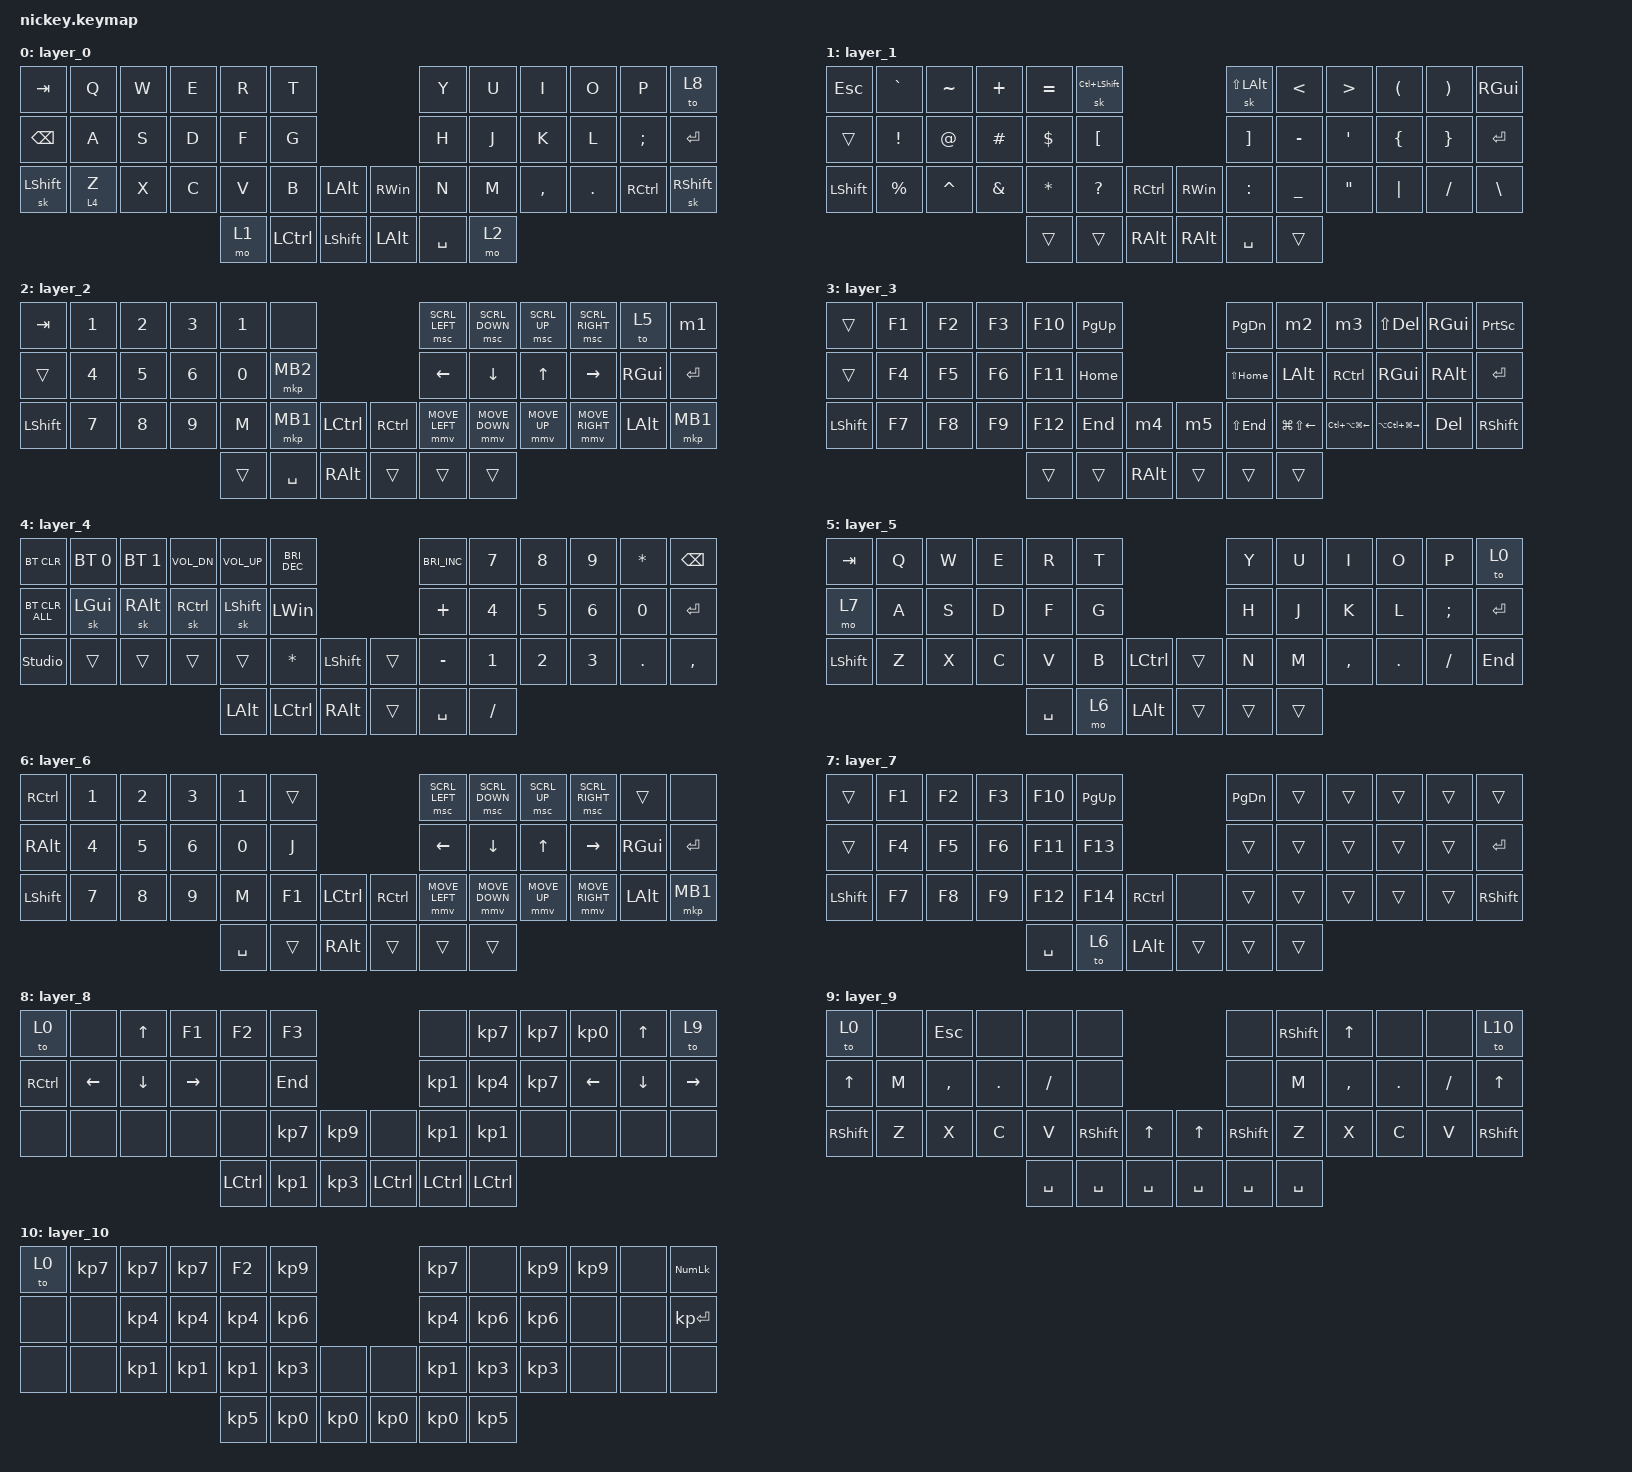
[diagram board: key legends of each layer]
// mouse tuning

#define ZMK_POINTING_DEFAULT_MOVE_VAL 1200
#define ZMK_POINTING_DEFAULT_SCRL_VAL 600

#include <dt-bindings/zmk/input_transform.h>
#include <input/processors.dtsi>
#include <zephyr/dt-bindings/input/input-event-codes.h>
#include <dt-bindings/zmk/mouse.h>
#include <behaviors/mouse_keys.dtsi>
#include <behaviors.dtsi>
#include <dt-bindings/zmk/bt.h>
#include <dt-bindings/zmk/keys.h>
#include <dt-bindings/zmk/pointing.h>

&mmv_input_listener { input-processors = <&zip_xy_scaler 2 1>; };

&msc_input_listener { input-processors = <&zip_scroll_scaler 2 1>; };

&mt {
    flavor = "balanced";
    quick-tap-ms = <0>;
};

&lt {
    quick-tap-ms = <300>;
    flavor = "balanced";
};

&mmv {
    time-to-max-speed-ms = <400>;
    acceleration-exponent = <1>;
    trigger-period-ms = <14>;
};

&msc {
    acceleration-exponent = <1>;
    time-to-max-speed-ms = <100>;
    delay-ms = <0>;
};

/ {
    combos {
        compatible = "zmk,combos";

        esc {
            bindings = <&kp ESCAPE>;
            key-positions = <0 1>;
            layers = <0 5>;
        };

        select_to_bol {
            bindings = <&kp LS(HOME)>;
            key-positions = <32 33>;
            layers = <0>;
        };

        select_to_eol {
            bindings = <&kp LS(END)>;
            key-positions = <34 35>;
            layers = <0>;
        };

        word_backward {
            bindings = <&kp LC(LEFT_ARROW)>;
            key-positions = <18 19>;
            layers = <0>;
        };

        word_forward {
            bindings = <&kp LC(RIGHT)>;
            key-positions = <20 21>;
            layers = <0>;
        };

        mousekey_3 {
            bindings = <&mkp MB3>;
            key-positions = <17 29>;
            layers = <2>;
        };

        esc-jk {
            bindings = <&kp ESCAPE>;
            key-positions = <19 20>;
            layers = <0>;
        };

        capword {
            bindings = <&caps_word>;
            key-positions = <24 37>;
            layers = <0>;
        };
    };

    macros {
        m0: m0 {
            compatible = "zmk,behavior-macro";
            #binding-cells = <0>;
            bindings = <&kp EQUAL &kp GT>;
            label = "M0";
        };

        m1: m1 {
            compatible = "zmk,behavior-macro";
            #binding-cells = <0>;
            bindings =
                <&macro_press>,
                <&kp LCTRL &kp LSHFT>,
                <&macro_tap>,
                <&kp ESC>,
                <&macro_release>,
                <&kp LCTRL &kp LSHFT>;

            label = "M1";
        };

        m2: m2 {
            compatible = "zmk,behavior-macro";
            #binding-cells = <0>;
            bindings =
                <&macro_press>,
                <&kp RGUI &kp LCTRL>,
                <&macro_tap>,
                <&kp LEFT>,
                <&macro_release>,
                <&kp RGUI &kp LCTRL>;

            label = "M2";
        };

        m3: m3 {
            compatible = "zmk,behavior-macro";
            #binding-cells = <0>;
            bindings =
                <&macro_press>,
                <&kp RGUI &kp LCTRL>,
                <&macro_tap>,
                <&kp RIGHT>,
                <&macro_release>,
                <&kp RGUI &kp LCTRL>;

            label = "M3";
        };

        m4: m4 {
            compatible = "zmk,behavior-macro";
            #binding-cells = <0>;
            bindings =
                <&macro_press>,
                <&kp RGUI &kp LCTRL>,
                <&macro_tap>,
                <&kp D>,
                <&macro_release>,
                <&kp RGUI &kp LCTRL>;

            label = "M4";
        };

        m5: m5 {
            compatible = "zmk,behavior-macro";
            #binding-cells = <0>;
            bindings =
                <&macro_press>,
                <&kp RGUI &kp LCTRL>,
                <&macro_tap>,
                <&kp F4>,
                <&macro_release>,
                <&kp RGUI &kp LCTRL>;

            label = "M5";
        };
    };

    keymap {
        compatible = "zmk,keymap";

        layer_0 {
            bindings = <
&kp TAB        &kp Q    &kp W  &kp E  &kp R  &kp T                                       &kp Y      &kp U  &kp I      &kp O    &kp P      &to 8
&kp BACKSPACE  &kp A    &kp S  &kp D  &kp F  &kp G                                       &kp H      &kp J  &kp K      &kp L    &kp SEMI   &kp ENTER
&sk LSHFT      &lt 4 Z  &kp X  &kp C  &kp V  &kp B      &kp LEFT_ALT      &kp RIGHT_WIN  &kp N      &kp M  &kp COMMA  &kp DOT  &kp RCTRL  &sk RIGHT_SHIFT
                                      &mo 1  &kp LCTRL  &kp LEFT_SHIFT    &kp LEFT_ALT   &kp SPACE  &mo 2
            >;
        };

        layer_1 {
            bindings = <
&kp ESCAPE      &kp GRAVE        &kp TILDE    &kp PLUS       &kp EQUAL     &sk LC(LEFT_SHIFT)                                  &sk LS(LEFT_ALT)   &kp LESS_THAN   &kp GREATER_THAN   &kp LEFT_PARENTHESIS  &kp RIGHT_PARENTHESIS  &kp RIGHT_GUI
&trans          &kp EXCLAMATION  &kp AT_SIGN  &kp HASH       &kp DOLLAR    &kp LEFT_BRACKET                                    &kp RIGHT_BRACKET  &kp MINUS       &kp SQT            &kp LEFT_BRACE        &kp RIGHT_BRACE        &kp ENTER
&kp LEFT_SHIFT  &kp PERCENT      &kp CARET    &kp AMPERSAND  &kp ASTERISK  &kp QUESTION        &kp RCTRL        &kp RIGHT_WIN  &kp COLON          &kp UNDERSCORE  &kp DOUBLE_QUOTES  &kp PIPE              &kp SLASH              &kp BACKSLASH
                                                             &trans        &trans              &kp RIGHT_ALT    &kp RIGHT_ALT  &kp SPACE          &trans
            >;
        };

        layer_2 {
            bindings = <
&kp TAB    &kp NUMBER_1  &kp N2  &kp N3  &kp N1  &none                                  &msc SCRL_LEFT  &msc SCRL_DOWN  &msc SCRL_UP  &msc SCRL_RIGHT  &to 5          &m1
&trans     &kp N4        &kp N5  &kp N6  &kp N0  &mkp MB2                               &kp LEFT        &kp DOWN        &kp UP        &kp RIGHT        &kp RIGHT_GUI  &kp ENTER
&kp LSHFT  &kp N7        &kp N8  &kp N9  &kp M   &mkp MB1   &kp LCTRL        &kp RCTRL  &mmv MOVE_LEFT  &mmv MOVE_DOWN  &mmv MOVE_UP  &mmv MOVE_RIGHT  &kp LEFT_ALT   &mkp MB1
                                         &trans  &kp SPACE  &kp RIGHT_ALT    &trans     &trans          &trans
            >;
        };

        layer_3 {
            bindings = <
&trans     &kp F1  &kp F2  &kp F3  &kp F10  &kp PAGE_UP                           &kp PAGE_DOWN  &m2                     &m3                         &kp LS(DELETE)               &kp RGUI  &kp PRINTSCREEN
&trans     &kp F4  &kp F5  &kp F6  &kp F11  &kp HOME                              &kp LS(HOME)   &kp LALT                &kp RCTRL                   &kp RGUI                     &kp RALT  &kp ENTER
&kp LSHFT  &kp F7  &kp F8  &kp F9  &kp F12  &kp END      &m4              &m5     &kp LS(END)    &kp LG(LS(LEFT_ARROW))  &kp LC(LA(LG(LEFT_ARROW)))  &kp LA(LC(LG(RIGHT_ARROW)))  &kp DEL   &kp RSHFT
                                   &trans   &trans       &kp RIGHT_ALT    &trans  &trans         &trans
            >;
        };

        layer_4 {
            bindings = <
&bt BT_CLR      &bt BT_SEL 0  &bt BT_SEL 1   &kp C_VOL_DN  &kp C_VOLUME_UP  &kp C_BRIGHTNESS_DEC                            &kp C_BRIGHTNESS_INC  &kp N7     &kp N8  &kp N9  &kp ASTERISK  &kp BACKSPACE
&bt BT_CLR_ALL  &sk LGUI      &sk RIGHT_ALT  &sk RCTRL     &sk LEFT_SHIFT   &kp LEFT_WIN                                    &kp PLUS              &kp N4     &kp N5  &kp N6  &kp N0        &kp ENTER
&studio_unlock  &trans        &trans         &trans        &trans           &kp ASTERISK          &kp LEFT_SHIFT    &trans  &kp MINUS             &kp N1     &kp N2  &kp N3  &kp PERIOD    &kp COMMA
                                                           &kp LEFT_ALT     &kp LCTRL             &kp RIGHT_ALT     &trans  &kp SPACE             &kp SLASH
            >;
        };

        layer_5 {
            bindings = <
&kp TAB    &kp Q  &kp W  &kp E  &kp R      &kp T                       &kp Y   &kp U   &kp I      &kp O    &kp P      &to 0
&mo 7      &kp A  &kp S  &kp D  &kp F      &kp G                       &kp H   &kp J   &kp K      &kp L    &kp SEMI   &kp ENTER
&kp LSHFT  &kp Z  &kp X  &kp C  &kp V      &kp B  &kp LCTRL    &trans  &kp N   &kp M   &kp COMMA  &kp DOT  &kp SLASH  &kp END
                                &kp SPACE  &mo 6  &kp LALT     &trans  &trans  &trans
            >;
        };

        layer_6 {
            bindings = <
&kp RCTRL      &kp NUMBER_1  &kp N2  &kp N3  &kp N1     &trans                              &msc SCRL_LEFT  &msc SCRL_DOWN  &msc SCRL_UP  &msc SCRL_RIGHT  &trans         &none
&kp RIGHT_ALT  &kp N4        &kp N5  &kp N6  &kp N0     &kp J                               &kp LEFT        &kp DOWN        &kp UP        &kp RIGHT        &kp RIGHT_GUI  &kp ENTER
&kp LSHFT      &kp N7        &kp N8  &kp N9  &kp M      &kp F1  &kp LCTRL        &kp RCTRL  &mmv MOVE_LEFT  &mmv MOVE_DOWN  &mmv MOVE_UP  &mmv MOVE_RIGHT  &kp LEFT_ALT   &mkp MB1
                                             &kp SPACE  &trans  &kp RIGHT_ALT    &trans     &trans          &trans
            >;
        };

        layer_7 {
            bindings = <
&trans     &kp F1  &kp F2  &kp F3  &kp F10    &kp PAGE_UP                       &kp PAGE_DOWN  &trans  &trans  &trans  &trans  &trans
&trans     &kp F4  &kp F5  &kp F6  &kp F11    &kp F13                           &trans         &trans  &trans  &trans  &trans  &kp ENTER
&kp LSHFT  &kp F7  &kp F8  &kp F9  &kp F12    &kp F14      &kp RCTRL    &none   &trans         &trans  &trans  &trans  &trans  &kp RSHFT
                                   &kp SPACE  &to 6        &kp LALT     &trans  &trans         &trans
            >;
        };

        layer_8 {
            bindings = <
&to 0      &none           &kp UP_ARROW    &kp F1           &kp F2     &kp F3                                         &none            &kp KP_NUMBER_7  &kp KP_NUMBER_7  &kp KP_NUMBER_0  &kp UP_ARROW    &to 9
&kp RCTRL  &kp LEFT_ARROW  &kp DOWN_ARROW  &kp RIGHT_ARROW  &none      &kp END                                        &kp KP_NUMBER_1  &kp KP_NUMBER_4  &kp KP_NUMBER_7  &kp LEFT_ARROW   &kp DOWN_ARROW  &kp RIGHT_ARROW
&none      &none           &none           &none            &none      &kp KP_NUMBER_7  &kp KP_NUMBER_9    &none      &kp KP_NUMBER_1  &kp KP_NUMBER_1  &none            &none            &none           &none
                                                            &kp LCTRL  &kp KP_NUMBER_1  &kp KP_NUMBER_3    &kp LCTRL  &kp LCTRL        &kp LCTRL
            >;
        };

        layer_9 {
            bindings = <
&to 0         &none  &kp ESC    &none    &none      &none                                    &none            &kp RSHFT  &kp UP_ARROW  &none    &none     &to 10
&kp UP_ARROW  &kp M  &kp COMMA  &kp DOT  &kp FSLH   &none                                    &none            &kp M      &kp COMMA     &kp DOT  &kp FSLH  &kp UP_ARROW
&kp RSHFT     &kp Z  &kp X      &kp C    &kp V      &kp RSHFT  &kp UP_ARROW    &kp UP_ARROW  &kp RIGHT_SHIFT  &kp Z      &kp X         &kp C    &kp V     &kp RSHFT
                                         &kp SPACE  &kp SPACE  &kp SPACE       &kp SPACE     &kp SPACE        &kp SPACE
            >;
        };

        layer_10 {
            bindings = <
&to 0  &kp KP_NUMBER_7  &kp KP_NUMBER_7  &kp KP_NUMBER_7  &kp F2           &kp KP_NUMBER_9                                      &kp KP_NUMBER_7  &none            &kp KP_NUMBER_9  &kp KP_NUMBER_9  &none  &kp KP_NUMLOCK
&none  &none            &kp KP_NUMBER_4  &kp KP_NUMBER_4  &kp KP_NUMBER_4  &kp KP_NUMBER_6                                      &kp KP_NUMBER_4  &kp KP_NUMBER_6  &kp KP_NUMBER_6  &none            &none  &kp KP_ENTER
&none  &none            &kp KP_NUMBER_1  &kp KP_NUMBER_1  &kp KP_NUMBER_1  &kp KP_NUMBER_3  &none              &none            &kp KP_NUMBER_1  &kp KP_NUMBER_3  &kp KP_NUMBER_3  &none            &none  &none
                                                          &kp KP_NUMBER_5  &kp KP_NUMBER_0  &kp KP_NUMBER_0    &kp KP_NUMBER_0  &kp KP_NUMBER_0  &kp KP_NUMBER_5
            >;
        };
    };

    conditional_layers {
        compatible = "zmk,conditional-layers";

        tri_layer {
            if-layers = <1 2>;
            then-layer = <3>;
        };
    };
};
